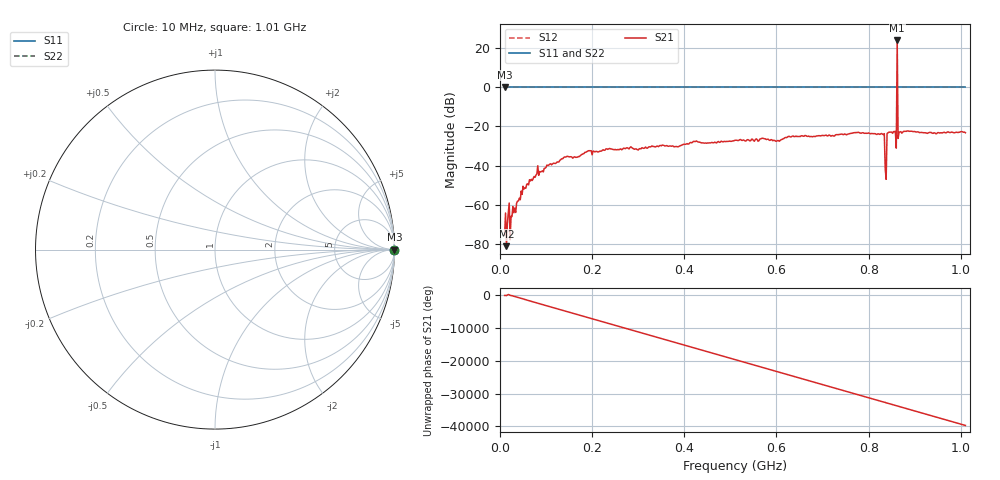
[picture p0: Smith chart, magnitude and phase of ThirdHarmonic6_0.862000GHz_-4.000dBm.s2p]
! 8/16/2025 4:29:03 AM
! C:\ANRITSUVNA\TEMP\TEMP.S2P
! CHANNEL.1
! TR.MEASUREMENT
! RAW.DATA
! RF.CORRECTION.OFF
! AVERAGING.OFF
! IF.BANDWIDTH: 5KHZ
! SWEEPTYPE:  FREQ.SWEEP(Linear)
! Reference Plane Port Info
! PORT:  PORT1  PORT2
! DISTANCE:  0  m  0  m
! TIME:  0  s  0  s
! PHASE.OFFSET:  0  deg.  0  deg.
! LOSS:  0  dB  0  dB
! REF.LOSS:  0  dB  0  dB
! REF.FREQ:  0  Hz  0  Hz
! Power Info
! POWER:  -20  dBm  -20  dBm
! EFF.POWER:  -20  dBm  -20  dBm
! SOURCE.ATTEN:  0  dB  0  dB
! TEST.ATTEN:  0  dB  0  dB
# GHZ S RI R 50.0
! FREQ.GHZ  S11RE  S11IM  S21RE  S21IM  S12RE  S12IM  S22RE  S22IM
!; PortSelection: Port_12
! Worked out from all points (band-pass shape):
!   501 points, 10 MHz to 1.01 GHz, reference 50 ohm
!   highest |S21| = 23.64 dB at 862 MHz (marker M1); lowest = -81.0 dB at 14 MHz (marker M2)
!   |S21| within 3 dB of the highest: 861.8905 MHz to 862.1204 MHz (229.9 kHz wide, 0.0267 % of centre)
!   lowest |S11| = 0.0 dB at 10 MHz (marker M3)
!   |S11| at or under -10 dB: nowhere
!   |S22| runs from 0.0 to 0.0 dB; largest |S21 - S12| = 15
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0.01  1 0  0.000163 -5.36e-05  1 0  1 0
0.014  1 0  4.74e-05 -7.54e-05  1 0  1 0
0.016  1 0  -0.000176 0.000287  1 0  1 0
0.018  1 0  -0.000193 -0.000578  1 0  1 0
0.026  1 0  8.84e-05 -0.000498  1 0  1 0
0.05  1 0  0.0029 0.000682  1 0  1 0
0.078  1 0  0.0016 -0.00546  1 0  1 0
0.142  1 0  -0.0151 -0.0064  1 0  1 0
0.178  1 0  -0.0188 -0.0045  1 0  1 0
0.344  1 0  0.0299 -0.00479  1 0  1 0
0.51  1 0  -0.0424 0.0115  1 0  1 0
0.678  1 0  -0.0172 -0.0509  1 0  1 0
0.83  1 0  -0.0183 -0.0607  1 0  1 0
0.834  1 0  -0.00731 0.0643  1 0  1 0
0.84  1 0  -0.0539 -0.0375  1 0  1 0
0.844  1 0  0.0414 0.0572  1 0  1 0
0.856  1 0  0.0226 -0.0693  1 0  1 0
0.858  1 0  -0.0665 -0.0333  1 0  1 0
0.862  1 0  -1.24 15.16  1 0  1 0
0.866  1 0  -0.0315 -0.063  1 0  1 0
0.868  1 0  -0.069 0.0199  1 0  1 0
1.01  1 0  -0.0617 -0.0289  1 0  1 0
